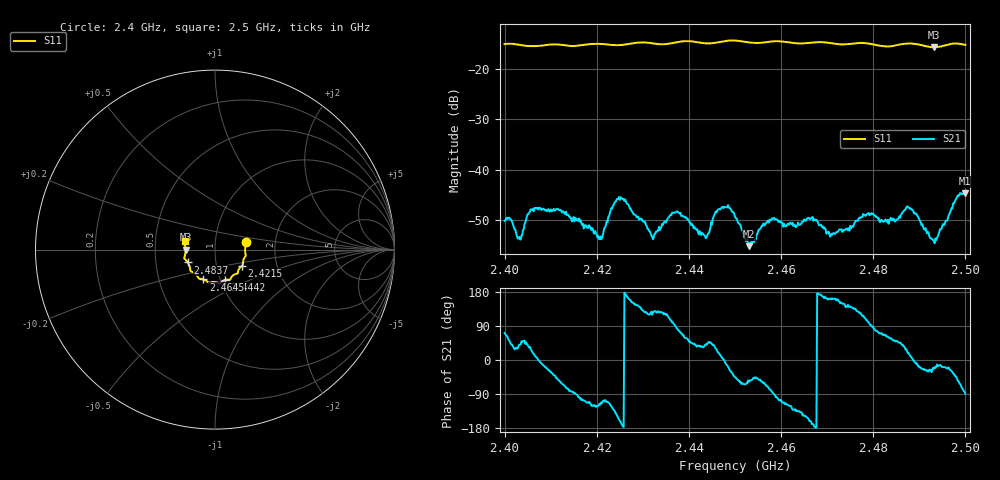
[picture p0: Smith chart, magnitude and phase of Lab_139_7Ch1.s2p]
# Hz S RI R 50
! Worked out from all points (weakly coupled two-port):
!   601 points, 2.4 GHz to 2.5 GHz, reference 50 ohm
!   highest |S21| = -44.67 dB at 2.4998 GHz (marker M1); lowest = -55.2 dB at 2.453 GHz (marker M2)
!   lowest |S11| = -15.7 dB at 2.4932 GHz (marker M3), VSWR 1.39, Z = 36 - j0.05 ohm
!   |S11| at or under -10 dB: start of sweep to end of sweep
!   S12 and S22 are empty: the file has one direction only
!   S11 on the Smith chart (normalised r, x): 2.4 GHz: 1.41, +0.12; 2.4215 GHz: 1.33, -0.25; 2.4442 GHz: 1.05, -0.37; 2.4645 GHz: 0.83, -0.29; 2.4837 GHz: 0.73, -0.11; 2.5 GHz: 0.71, +0.07
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2.4e9  0.1713 0.0401  0.000988 0.00294  0 0  0 0
2.403167e9  0.1712 0.0261  0.00165 0.00139  0 0  0 0
2.407e9  0.168 -0.0122  0.00409 0.000434  0 0  0 0
2.416667e9  0.1568 -0.0699  -0.000794 -0.00281  0 0  0 0
2.4215e9  0.1511 -0.0897  -0.000729 -0.00237  0 0  0 0
2.425e9  0.1341 -0.1072  -0.0047 -0.00171  0 0  0 0
2.433333e9  0.1084 -0.1385  -0.00155 0.00192  0 0  0 0
2.437333e9  0.0876 -0.1615  0.000434 0.00382  0 0  0 0
2.444167e9  0.0566 -0.1693  0.00161 0.00169  0 0  0 0
2.446833e9  0.0358 -0.1813  0.00393 0.000872  0 0  0 0
2.45e9  0.0251 -0.1891  0.00238 -0.00243  0 0  0 0
2.453e9  0.0104 -0.1826  0.000942 -0.00146  0 0  0 0
2.458e9  -0.0284 -0.1845  0.000383 -0.00327  0 0  0 0
2.4645e9  -0.0658 -0.166  -0.00226 -0.00198  0 0  0 0
2.466667e9  -0.0827 -0.162  -0.00325 -0.000626  0 0  0 0
2.471e9  -0.0964 -0.1511  -0.00214 0.000669  0 0  0 0
2.483333e9  -0.1489 -0.0749  0.00149 0.00249  0 0  0 0
2.483667e9  -0.1509 -0.0717  0.00176 0.00269  0 0  0 0
2.487833e9  -0.1716 -0.0487  0.004 0.00106  0 0  0 0
2.493167e9  -0.1634 -0.000676  0.0018 -0.000768  0 0  0 0
2.499833e9  -0.1663 0.0494  0.000561 -0.00582  0 0  0 0
2.5e9  -0.1653 0.0504  7.51e-05 -0.00583  0 0  0 0
